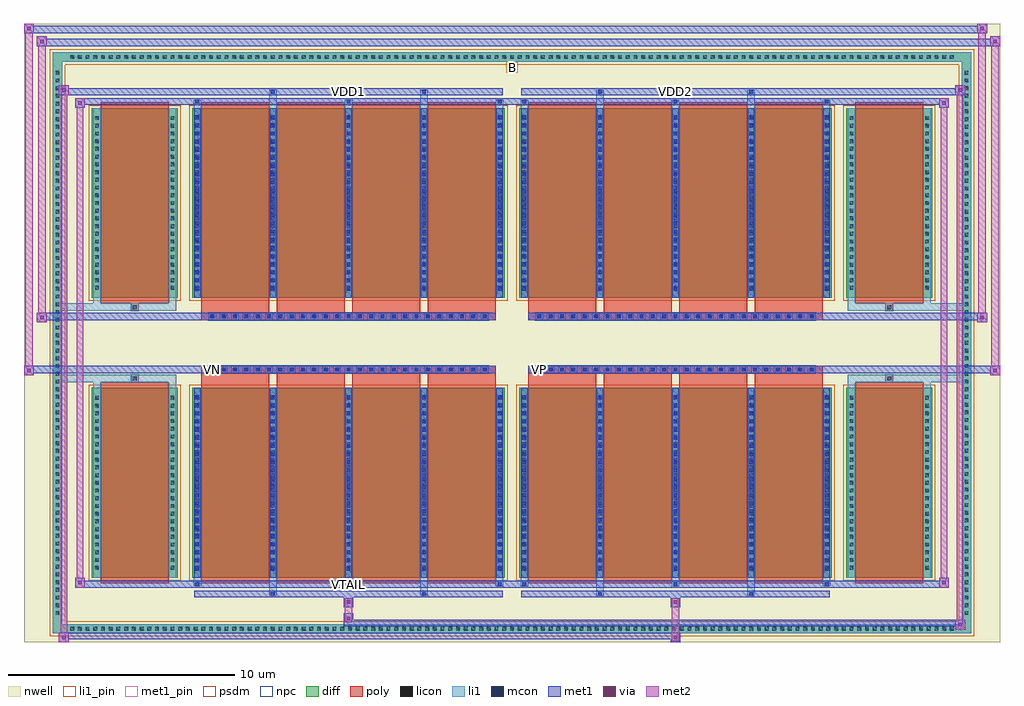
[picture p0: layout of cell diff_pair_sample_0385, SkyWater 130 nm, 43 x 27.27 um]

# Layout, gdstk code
import gdstk
lib = gdstk.Library(unit=1e-6, precision=5e-09)
def R(c, l, rs):  # rectangles x0, y0, x1, y1
    for r in rs: c.add(gdstk.rectangle(r[:2], r[2:], *l))
def A(c, l, x, y, w, h, nx, ny, dx, dy):  # array of equal rectangles
    R(c, l, [(x+i*dx, y+j*dy, x+i*dx+w, y+j*dy+h) for i in range(nx) for j in range(ny)])
def P(c, l, *ps):  # polygons
    for p in ps: c.add(gdstk.Polygon(p, *l))
nwell = (64, 20)
diff = (65, 20)
poly = (66, 20)
licon = (66, 44)
li1_pin = (67, 16)
li1 = (67, 20)
mcon = (67, 44)
met1_pin = (68, 16)
met1 = (68, 20)
via = (68, 44)
met2 = (69, 20)
psdm = (94, 20)
npc = (95, 20)

diff_pair_sample_0385 = lib.new_cell('diff_pair_sample_0385')
R(diff_pair_sample_0385, nwell, [(-21.5,-13.2,21.5,14.07), (-18.82,-11.39,-0.01,-0.805), (0.01,-11.39,18.82,-0.805), (-18.82,0.805,-0.01,11.39), (0.01,0.805,18.82,11.39)])
A(diff_pair_sample_0385, diff, -19.585, -12.8, 0.41, 0.41, 115, 2, 0.34, 25.19)
A(diff_pair_sample_0385, diff, -20.23, -12.105, 0.41, 0.41, 1, 71, 0, 0.34)
A(diff_pair_sample_0385, diff, 19.82, -12.105, 0.41, 0.41, 1, 71, 0, 0.34)
R(diff_pair_sample_0385, diff, [(-19.585,-12.8,19.585,-12.39), (-20.23,-12.105,-19.82,12.105), (19.82,-12.105,20.23,12.105), (-18.51,-10.345,-14.73,-1.985), (-14.09,-10.345,-0.32,-1.985), (0.32,-10.345,14.09,-1.985), (14.73,-10.345,18.51,-1.985), (-18.51,1.985,-14.73,10.345), (-14.09,1.985,-0.32,10.345), (0.32,1.985,14.09,10.345), (14.73,1.985,18.51,10.345), (-19.585,12.39,19.585,12.8)])
P(diff_pair_sample_0385, diff, [(20.23,12.8),(-20.23,12.8),(-20.23,-12.39),(-19.82,-12.39),(-19.82,12.39),(19.82,12.39),(19.82,-12.39),(-19.82,-12.39),(-20.23,-12.39),(-20.23,-12.8),(20.23,-12.8)])
A(diff_pair_sample_0385, poly, -13.7, -10.595, 3, 8.86, 4, 2, 3.33, 12.33)
A(diff_pair_sample_0385, poly, 0.71, -10.595, 3, 8.86, 4, 2, 3.33, 12.33)
A(diff_pair_sample_0385, poly, -13.7, -1.735, 3, 0.4, 4, 2, 3.33, 3.07)
A(diff_pair_sample_0385, poly, 0.71, -1.735, 3, 0.4, 4, 2, 3.33, 3.07)
A(diff_pair_sample_0385, poly, -13.37, -1.335, 0.33, 0.33, 25, 2, 0.5, 2.34)
A(diff_pair_sample_0385, poly, 1.04, -1.335, 0.33, 0.33, 25, 2, 0.5, 2.34)
R(diff_pair_sample_0385, poly, [(-18.12,-10.595,-15.12,-1.735), (15.12,-10.595,18.12,-1.735), (-16.785,-1.735,-16.455,-1.405), (-16.785,-1.735,-16.455,-1.405), (16.455,-1.735,16.785,-1.405), (16.455,-1.735,16.785,-1.405), (-13.7,-1.335,-0.71,-1.005), (0.71,-1.335,13.7,-1.005), (-13.7,1.005,-0.71,1.335), (0.71,1.005,13.7,1.335), (-16.785,1.405,-16.455,1.735), (-16.785,1.405,-16.455,1.735), (16.455,1.405,16.785,1.735), (16.455,1.405,16.785,1.735), (-18.12,1.735,-15.12,10.595), (15.12,1.735,18.12,10.595)])
A(diff_pair_sample_0385, licon, -19.465, -12.68, 0.17, 0.17, 115, 2, 0.34, 25.19)
A(diff_pair_sample_0385, licon, -20.11, -11.985, 0.17, 0.17, 1, 71, 0, 0.34)
A(diff_pair_sample_0385, licon, 19.94, -11.985, 0.17, 0.17, 1, 71, 0, 0.34)
A(diff_pair_sample_0385, licon, -18.37, -9.99, 0.17, 0.17, 1, 23, 0, 0.34)
A(diff_pair_sample_0385, licon, -15.04, -9.99, 0.17, 0.17, 1, 23, 0, 0.34)
A(diff_pair_sample_0385, licon, -13.95, -9.99, 0.17, 0.17, 5, 23, 3.33, 0.34)
A(diff_pair_sample_0385, licon, 0.46, -9.99, 0.17, 0.17, 5, 23, 3.33, 0.34)
A(diff_pair_sample_0385, licon, 14.87, -9.99, 0.17, 0.17, 1, 23, 0, 0.34)
A(diff_pair_sample_0385, licon, 18.2, -9.99, 0.17, 0.17, 1, 23, 0, 0.34)
A(diff_pair_sample_0385, licon, -13.29, -1.255, 0.17, 0.17, 25, 2, 0.5, 2.34)
A(diff_pair_sample_0385, licon, 1.12, -1.255, 0.17, 0.17, 25, 2, 0.5, 2.34)
A(diff_pair_sample_0385, licon, -18.37, 2.34, 0.17, 0.17, 1, 23, 0, 0.34)
A(diff_pair_sample_0385, licon, -15.04, 2.34, 0.17, 0.17, 1, 23, 0, 0.34)
A(diff_pair_sample_0385, licon, -13.95, 2.34, 0.17, 0.17, 5, 23, 3.33, 0.34)
A(diff_pair_sample_0385, licon, 0.46, 2.34, 0.17, 0.17, 5, 23, 3.33, 0.34)
A(diff_pair_sample_0385, licon, 14.87, 2.34, 0.17, 0.17, 1, 23, 0, 0.34)
A(diff_pair_sample_0385, licon, 18.2, 2.34, 0.17, 0.17, 1, 23, 0, 0.34)
R(diff_pair_sample_0385, licon, [(-16.705,-1.655,-16.535,-1.485), (16.535,-1.655,16.705,-1.485), (-16.705,1.485,-16.535,1.655), (16.535,1.485,16.705,1.655)])
R(diff_pair_sample_0385, li1_pin, [(-0.25,11.89,0.25,12.39)])
A(diff_pair_sample_0385, li1, -19.545, -12.76, 0.33, 0.33, 115, 2, 0.34, 25.19)
A(diff_pair_sample_0385, li1, -20.19, -12.065, 0.33, 0.33, 1, 71, 0, 0.34)
A(diff_pair_sample_0385, li1, 19.86, -12.065, 0.33, 0.33, 1, 71, 0, 0.34)
A(diff_pair_sample_0385, li1, -14.03, -10.72, 0.33, 0.375, 3, 2, 6.66, 21.065)
A(diff_pair_sample_0385, li1, -13.95, -10.72, 0.17, 0.17, 3, 2, 6.66, 21.27)
A(diff_pair_sample_0385, li1, 0.38, -10.72, 0.33, 0.375, 3, 2, 6.66, 21.065)
A(diff_pair_sample_0385, li1, 0.46, -10.72, 0.17, 0.17, 3, 2, 6.66, 21.27)
A(diff_pair_sample_0385, li1, -14.03, -10.345, 0.33, 8.36, 5, 2, 3.33, 12.33)
A(diff_pair_sample_0385, li1, 0.38, -10.345, 0.33, 8.36, 5, 2, 3.33, 12.33)
A(diff_pair_sample_0385, li1, -18.45, -10.07, 0.33, 0.33, 1, 23, 0, 0.34)
A(diff_pair_sample_0385, li1, -15.12, -10.07, 0.33, 0.33, 1, 23, 0, 0.34)
A(diff_pair_sample_0385, li1, -14.03, -10.07, 0.33, 0.33, 5, 23, 3.33, 0.34)
A(diff_pair_sample_0385, li1, 0.38, -10.07, 0.33, 0.33, 5, 23, 3.33, 0.34)
A(diff_pair_sample_0385, li1, 14.79, -10.07, 0.33, 0.33, 1, 23, 0, 0.34)
A(diff_pair_sample_0385, li1, 18.12, -10.07, 0.33, 0.33, 1, 23, 0, 0.34)
A(diff_pair_sample_0385, li1, -13.95, -10.03, 0.17, 0.17, 5, 22, 3.33, 0.36)
A(diff_pair_sample_0385, li1, -13.95, -10.03, 0.17, 7.73, 5, 2, 3.33, 12.33)
A(diff_pair_sample_0385, li1, 0.46, -10.03, 0.17, 0.17, 5, 22, 3.33, 0.36)
A(diff_pair_sample_0385, li1, 0.46, -10.03, 0.17, 7.73, 5, 2, 3.33, 12.33)
A(diff_pair_sample_0385, li1, -13.37, -1.335, 0.33, 0.33, 25, 2, 0.5, 2.34)
A(diff_pair_sample_0385, li1, 1.04, -1.335, 0.33, 0.33, 25, 2, 0.5, 2.34)
A(diff_pair_sample_0385, li1, -18.45, 2.26, 0.33, 0.33, 1, 23, 0, 0.34)
A(diff_pair_sample_0385, li1, -15.12, 2.26, 0.33, 0.33, 1, 23, 0, 0.34)
A(diff_pair_sample_0385, li1, -14.03, 2.26, 0.33, 0.33, 5, 23, 3.33, 0.34)
A(diff_pair_sample_0385, li1, 0.38, 2.26, 0.33, 0.33, 5, 23, 3.33, 0.34)
A(diff_pair_sample_0385, li1, 14.79, 2.26, 0.33, 0.33, 1, 23, 0, 0.34)
A(diff_pair_sample_0385, li1, 18.12, 2.26, 0.33, 0.33, 1, 23, 0, 0.34)
A(diff_pair_sample_0385, li1, -13.95, 2.3, 0.17, 0.17, 5, 22, 3.33, 0.36)
A(diff_pair_sample_0385, li1, 0.46, 2.3, 0.17, 0.17, 5, 22, 3.33, 0.36)
R(diff_pair_sample_0385, li1, [(-20.23,-12.8,-19.82,-12.39), (-20.23,-12.8,-19.82,-12.39), (-19.82,-12.8,19.82,-12.39), (19.82,-12.8,20.23,-12.39), (19.82,-12.8,20.23,-12.39), (-20.23,-12.39,-19.82,12.39), (19.82,-12.39,20.23,12.39), (-10.7,-11.15,-10.37,-10.345), (-10.62,-11.15,-10.45,-10.98), (-4.04,-11.15,-3.71,-10.345), (-3.96,-11.15,-3.79,-10.98), (3.71,-11.15,4.04,-10.345), (3.79,-11.15,3.96,-10.98), (10.37,-11.15,10.7,-10.345), (10.45,-11.15,10.62,-10.98), (-18.45,-10.345,-18.12,-1.985), (-15.12,-10.345,-14.79,-1.985), (14.79,-10.345,15.12,-1.985), (18.12,-10.345,18.45,-1.985), (-18.45,-1.985,-18.12,-1.405), (-15.12,-1.985,-14.79,-1.405), (14.79,-1.985,15.12,-1.405), (18.12,-1.985,18.45,-1.405), (-20.23,-1.735,-16.785,-1.405), (-18.45,-1.735,-16.785,-1.405), (-16.785,-1.735,-16.455,-1.405), (-16.455,-1.735,-14.79,-1.405), (14.79,-1.735,16.455,-1.405), (16.455,-1.735,16.785,-1.405), (16.455,-1.735,20.23,-1.405), (16.785,-1.735,18.45,-1.405), (-20.23,1.405,-16.785,1.735), (-18.45,1.405,-16.785,1.735), (-18.45,1.405,-18.12,1.985), (-16.785,1.405,-16.455,1.735), (-16.455,1.405,-14.79,1.735), (-15.12,1.405,-14.79,1.985), (14.79,1.405,16.455,1.735), (14.79,1.405,15.12,1.985), (16.455,1.405,16.785,1.735), (16.455,1.405,20.23,1.735), (16.785,1.405,18.45,1.735), (18.12,1.405,18.45,1.985), (-18.45,1.985,-18.12,10.345), (-15.12,1.985,-14.79,10.345), (14.79,1.985,15.12,10.345), (18.12,1.985,18.45,10.345), (-10.7,10.345,-10.37,11.15), (-4.04,10.345,-3.71,11.15), (3.71,10.345,4.04,11.15), (10.37,10.345,10.7,11.15), (-10.62,10.98,-10.45,11.15), (-3.96,10.98,-3.79,11.15), (3.79,10.98,3.96,11.15), (10.45,10.98,10.62,11.15), (-20.23,12.39,-19.82,12.8), (-20.23,12.39,-19.82,12.8), (-19.82,12.39,19.82,12.8), (19.82,12.39,20.23,12.8), (19.82,12.39,20.23,12.8)])
A(diff_pair_sample_0385, mcon, -13.95, -10.72, 0.17, 0.17, 3, 2, 6.66, 21.27)
A(diff_pair_sample_0385, mcon, 0.46, -10.72, 0.17, 0.17, 3, 2, 6.66, 21.27)
A(diff_pair_sample_0385, mcon, -13.95, -10.03, 0.17, 0.17, 5, 22, 3.33, 0.36)
A(diff_pair_sample_0385, mcon, 0.46, -10.03, 0.17, 0.17, 5, 22, 3.33, 0.36)
A(diff_pair_sample_0385, mcon, -13.29, -1.255, 0.17, 0.17, 25, 2, 0.5, 2.34)
A(diff_pair_sample_0385, mcon, 1.12, -1.255, 0.17, 0.17, 25, 2, 0.5, 2.34)
A(diff_pair_sample_0385, mcon, -13.95, 2.3, 0.17, 0.17, 5, 22, 3.33, 0.36)
A(diff_pair_sample_0385, mcon, 0.46, 2.3, 0.17, 0.17, 5, 22, 3.33, 0.36)
R(diff_pair_sample_0385, mcon, [(-10.62,-11.15,-10.45,-10.98), (-3.96,-11.15,-3.79,-10.98), (3.79,-11.15,3.96,-10.98), (10.45,-11.15,10.62,-10.98), (-10.62,10.98,-10.45,11.15), (-3.96,10.98,-3.79,11.15), (3.79,10.98,3.96,11.15), (10.45,10.98,10.62,11.15)])
R(diff_pair_sample_0385, met1_pin, [(-7.34,-10.76,-7.07,-10.49), (-13.34,-1.295,-13.07,-1.025), (1.07,-1.295,1.34,-1.025), (-7.34,10.94,-7.07,11.21), (7.07,10.94,7.34,11.21)])
A(diff_pair_sample_0385, met1, -14.01, -10.78, 0.29, 0.29, 3, 2, 6.66, 21.27)
A(diff_pair_sample_0385, met1, 0.4, -10.78, 0.29, 0.29, 3, 2, 6.66, 21.27)
A(diff_pair_sample_0385, met1, -14.01, -10.345, 0.29, 8.36, 5, 2, 3.33, 12.33)
A(diff_pair_sample_0385, met1, 0.4, -10.345, 0.29, 8.36, 5, 2, 3.33, 12.33)
A(diff_pair_sample_0385, met1, -14.01, -10.09, 0.29, 0.29, 5, 22, 3.33, 0.36)
A(diff_pair_sample_0385, met1, 0.4, -10.09, 0.29, 0.29, 5, 22, 3.33, 0.36)
A(diff_pair_sample_0385, met1, -13.35, -1.315, 0.29, 0.29, 25, 2, 0.5, 2.34)
A(diff_pair_sample_0385, met1, 1.06, -1.315, 0.29, 0.29, 25, 2, 0.5, 2.34)
A(diff_pair_sample_0385, met1, -14.01, 2.24, 0.29, 0.29, 5, 22, 3.33, 0.36)
A(diff_pair_sample_0385, met1, 0.4, 2.24, 0.29, 0.29, 5, 22, 3.33, 0.36)
R(diff_pair_sample_0385, met1, [(-19.96,-13.2,-19.53,-12.77), (6.99,-13.2,7.42,-12.77), (-19.96,-13.06,7.42,-12.77), (19.53,-12.63,19.96,-12.2), (-7.42,-12.49,19.96,-12.2), (-7.42,-12.35,-6.99,-11.92), (-7.42,-11.64,-6.99,-11.21), (6.99,-11.64,7.42,-11.21), (-14.01,-11.21,-0.4,-10.92), (-10.68,-11.21,-10.39,-10.92), (-4.02,-11.21,-3.73,-10.92), (0.4,-11.21,14.01,-10.92), (3.73,-11.21,4.02,-10.92), (10.39,-11.21,10.68,-10.92), (-19.25,-10.78,-18.82,-10.35), (-19.25,-10.78,-14.01,-10.49), (-14.01,-10.78,-0.4,-10.49), (-0.4,-10.78,0.4,-10.49), (0.4,-10.78,14.01,-10.49), (14.01,-10.78,19.25,-10.49), (18.82,-10.78,19.25,-10.35), (-21.5,-1.435,-21.07,-1.005), (21.07,-1.435,21.5,-1.005), (-21.5,-1.335,-0.71,-1.005), (-13.7,-1.335,-0.71,-1.005), (0.71,-1.335,13.7,-1.005), (0.71,-1.335,21.5,-1.005), (-20.93,0.905,-20.5,1.335), (20.5,0.905,20.93,1.335), (-20.93,1.005,-13.7,1.335), (-13.7,1.005,-0.71,1.335), (0.71,1.005,13.7,1.335), (13.7,1.005,20.93,1.335), (-19.25,10.35,-18.82,10.78), (18.82,10.35,19.25,10.78), (-19.25,10.49,-14.01,10.78), (-14.01,10.49,-0.4,10.78), (-0.4,10.49,0.4,10.78), (0.4,10.49,14.01,10.78), (14.01,10.49,19.25,10.78), (-19.96,10.92,-19.53,11.35), (-19.96,10.92,-14.01,11.21), (-14.01,10.92,-0.4,11.21), (-10.68,10.92,-10.39,11.21), (-4.02,10.92,-3.73,11.21), (0.4,10.92,14.01,11.21), (3.73,10.92,4.02,11.21), (10.39,10.92,10.68,11.21), (14.01,10.92,19.96,11.21), (19.53,10.92,19.96,11.35), (-20.93,13.07,-20.5,13.5), (-20.93,13.07,-18.82,13.4), (-18.82,13.07,18.82,13.4), (18.82,13.07,21.5,13.4), (21.07,13.07,21.5,13.5), (-21.5,13.64,-21.07,14.07), (-21.5,13.64,-18.82,13.97), (-18.82,13.64,18.82,13.97), (18.82,13.64,20.93,13.97), (20.5,13.64,20.93,14.07)])
R(diff_pair_sample_0385, via, [(-19.82,-13.06,-19.67,-12.91), (7.13,-13.06,7.28,-12.91), (19.67,-12.49,19.82,-12.34), (-7.28,-12.21,-7.13,-12.06), (-7.28,-11.5,-7.13,-11.35), (7.13,-11.5,7.28,-11.35), (-19.11,-10.64,-18.96,-10.49), (18.96,-10.64,19.11,-10.49), (-21.36,-1.295,-21.21,-1.145), (21.21,-1.295,21.36,-1.145), (-20.79,1.045,-20.64,1.195), (20.64,1.045,20.79,1.195), (-19.11,10.49,-18.96,10.64), (18.96,10.49,19.11,10.64), (-19.82,11.06,-19.67,11.21), (19.67,11.06,19.82,11.21), (-20.79,13.21,-20.64,13.36), (21.21,13.21,21.36,13.36), (-21.36,13.78,-21.21,13.93), (20.64,13.78,20.79,13.93)])
R(diff_pair_sample_0385, met2, [(-19.96,-13.2,-19.53,-12.77), (-19.89,-13.2,-19.6,11.35), (-19.6,-13.2,-19.53,-12.77), (-19.91,-13.15,-19.58,-12.82), (7.04,-13.15,7.37,-12.82), (7.04,-12.82,7.37,-11.59), (19.53,-12.63,19.96,-12.2), (19.6,-12.63,19.89,11.35), (19.89,-12.63,19.96,-12.2), (19.58,-12.58,19.91,-12.25), (-7.37,-12.3,-7.04,-11.97), (-7.37,-11.97,-7.04,-11.59), (-7.37,-11.59,-7.04,-11.26), (7.04,-11.59,7.37,-11.26), (-19.25,-10.78,-18.82,-10.35), (-19.18,-10.78,-18.89,10.78), (-18.89,-10.78,-18.82,-10.35), (18.82,-10.78,19.25,-10.35), (18.89,-10.78,19.18,10.78), (19.18,-10.78,19.25,-10.35), (-19.2,-10.73,-18.87,-10.4), (18.87,-10.73,19.2,-10.4), (-21.5,-1.435,-21.07,-1.005), (-21.45,-1.435,-21.12,14.07), (-21.12,-1.435,-21.07,-1.005), (21.07,-1.435,21.5,-1.005), (21.12,-1.435,21.45,13.5), (21.45,-1.435,21.5,-1.005), (-21.45,-1.385,-21.12,-1.055), (21.12,-1.385,21.45,-1.055), (-20.93,0.905,-20.5,1.335), (-20.88,0.905,-20.55,13.5), (-20.55,0.905,-20.5,1.335), (20.5,0.905,20.93,1.335), (20.55,0.905,20.88,14.07), (20.88,0.905,20.93,1.335), (-20.88,0.955,-20.55,1.285), (20.55,0.955,20.88,1.285), (-19.25,10.35,-18.82,10.78), (-18.89,10.35,-18.82,10.78), (18.82,10.35,19.25,10.78), (19.18,10.35,19.25,10.78), (-19.2,10.4,-18.87,10.73), (18.87,10.4,19.2,10.73), (-19.96,10.92,-19.53,11.35), (-19.6,10.92,-19.53,11.35), (19.53,10.92,19.96,11.35), (19.89,10.92,19.96,11.35), (-19.91,10.97,-19.58,11.3), (19.58,10.97,19.91,11.3), (-20.93,13.07,-20.5,13.5), (-20.55,13.07,-20.5,13.5), (21.07,13.07,21.5,13.5), (21.45,13.07,21.5,13.5), (-20.88,13.12,-20.55,13.45), (21.12,13.12,21.45,13.45), (-21.5,13.64,-21.07,14.07), (-21.12,13.64,-21.07,14.07), (20.5,13.64,20.93,14.07), (20.88,13.64,20.93,14.07), (-21.45,13.69,-21.12,14.02), (20.55,13.69,20.88,14.02)])
R(diff_pair_sample_0385, psdm, [(-18.64,-10.475,-14.6,-1.855), (-14.22,-10.475,-0.19,-1.855), (0.19,-10.475,14.22,-1.855), (14.6,-10.475,18.64,-1.855), (-18.64,1.855,-14.6,10.475), (-14.22,1.855,-0.19,10.475), (0.19,1.855,14.22,10.475), (14.6,1.855,18.64,10.475)])
P(diff_pair_sample_0385, psdm, [(20.36,12.93),(-20.36,12.93),(-20.36,-12.26),(-19.69,-12.26),(-19.69,12.26),(19.69,12.26),(19.69,-12.26),(-19.69,-12.26),(-20.36,-12.26),(-20.36,-12.93),(20.36,-12.93)])
A(diff_pair_sample_0385, npc, -13.39, -1.355, 0.37, 0.37, 25, 2, 0.5, 2.34)
A(diff_pair_sample_0385, npc, 1.02, -1.355, 0.37, 0.37, 25, 2, 0.5, 2.34)
R(diff_pair_sample_0385, npc, [(-16.805,-1.755,-16.435,-1.385), (16.435,-1.755,16.805,-1.385), (-13.39,-1.355,-12.52,-0.985), (-13.39,-1.355,-12.52,-0.985), (-12.89,-1.355,-12.02,-0.985), (-12.89,-1.355,-12.02,-0.985), (-12.39,-1.355,-11.52,-0.985), (-12.39,-1.355,-11.52,-0.985), (-11.89,-1.355,-11.02,-0.985), (-11.89,-1.355,-11.02,-0.985), (-11.39,-1.355,-10.52,-0.985), (-11.39,-1.355,-10.52,-0.985), (-10.89,-1.355,-10.02,-0.985), (-10.89,-1.355,-10.02,-0.985), (-10.39,-1.355,-9.52,-0.985), (-10.39,-1.355,-9.52,-0.985), (-9.89,-1.355,-9.02,-0.985), (-9.89,-1.355,-9.02,-0.985), (-9.39,-1.355,-8.52,-0.985), (-9.39,-1.355,-8.52,-0.985), (-8.89,-1.355,-8.02,-0.985), (-8.89,-1.355,-8.02,-0.985), (-8.39,-1.355,-7.52,-0.985), (-8.39,-1.355,-7.52,-0.985), (-7.89,-1.355,-7.02,-0.985), (-7.89,-1.355,-7.02,-0.985), (-7.39,-1.355,-6.52,-0.985), (-7.39,-1.355,-6.52,-0.985), (-6.89,-1.355,-6.02,-0.985), (-6.89,-1.355,-6.02,-0.985), (-6.39,-1.355,-5.52,-0.985), (-6.39,-1.355,-5.52,-0.985), (-5.89,-1.355,-5.02,-0.985), (-5.89,-1.355,-5.02,-0.985), (-5.39,-1.355,-4.52,-0.985), (-5.39,-1.355,-4.52,-0.985), (-4.89,-1.355,-4.02,-0.985), (-4.89,-1.355,-4.02,-0.985), (-4.39,-1.355,-3.52,-0.985), (-4.39,-1.355,-3.52,-0.985), (-3.89,-1.355,-3.02,-0.985), (-3.89,-1.355,-3.02,-0.985), (-3.39,-1.355,-2.52,-0.985), (-3.39,-1.355,-2.52,-0.985), (-2.89,-1.355,-2.02,-0.985), (-2.89,-1.355,-2.02,-0.985), (-2.39,-1.355,-1.52,-0.985), (-2.39,-1.355,-1.52,-0.985), (-1.89,-1.355,-1.02,-0.985), (-1.89,-1.355,-1.02,-0.985), (1.02,-1.355,1.89,-0.985), (1.02,-1.355,1.89,-0.985), (1.52,-1.355,2.39,-0.985), (1.52,-1.355,2.39,-0.985), (2.02,-1.355,2.89,-0.985), (2.02,-1.355,2.89,-0.985), (2.52,-1.355,3.39,-0.985), (2.52,-1.355,3.39,-0.985), (3.02,-1.355,3.89,-0.985), (3.02,-1.355,3.89,-0.985), (3.52,-1.355,4.39,-0.985), (3.52,-1.355,4.39,-0.985), (4.02,-1.355,4.89,-0.985), (4.02,-1.355,4.89,-0.985), (4.52,-1.355,5.39,-0.985), (4.52,-1.355,5.39,-0.985), (5.02,-1.355,5.89,-0.985), (5.02,-1.355,5.89,-0.985), (5.52,-1.355,6.39,-0.985), (5.52,-1.355,6.39,-0.985), (6.02,-1.355,6.89,-0.985), (6.02,-1.355,6.89,-0.985), (6.52,-1.355,7.39,-0.985), (6.52,-1.355,7.39,-0.985), (7.02,-1.355,7.89,-0.985), (7.02,-1.355,7.89,-0.985), (7.52,-1.355,8.39,-0.985), (7.52,-1.355,8.39,-0.985), (8.02,-1.355,8.89,-0.985), (8.02,-1.355,8.89,-0.985), (8.52,-1.355,9.39,-0.985), (8.52,-1.355,9.39,-0.985), (9.02,-1.355,9.89,-0.985), (9.02,-1.355,9.89,-0.985), (9.52,-1.355,10.39,-0.985), (9.52,-1.355,10.39,-0.985), (10.02,-1.355,10.89,-0.985), (10.02,-1.355,10.89,-0.985), (10.52,-1.355,11.39,-0.985), (10.52,-1.355,11.39,-0.985), (11.02,-1.355,11.89,-0.985), (11.02,-1.355,11.89,-0.985), (11.52,-1.355,12.39,-0.985), (11.52,-1.355,12.39,-0.985), (12.02,-1.355,12.89,-0.985), (12.02,-1.355,12.89,-0.985), (12.52,-1.355,13.39,-0.985), (12.52,-1.355,13.39,-0.985), (-13.39,0.985,-12.52,1.355), (-13.39,0.985,-12.52,1.355), (-12.89,0.985,-12.02,1.355), (-12.89,0.985,-12.02,1.355), (-12.39,0.985,-11.52,1.355), (-12.39,0.985,-11.52,1.355), (-11.89,0.985,-11.02,1.355), (-11.89,0.985,-11.02,1.355), (-11.39,0.985,-10.52,1.355), (-11.39,0.985,-10.52,1.355), (-10.89,0.985,-10.02,1.355), (-10.89,0.985,-10.02,1.355), (-10.39,0.985,-9.52,1.355), (-10.39,0.985,-9.52,1.355), (-9.89,0.985,-9.02,1.355), (-9.89,0.985,-9.02,1.355), (-9.39,0.985,-8.52,1.355), (-9.39,0.985,-8.52,1.355), (-8.89,0.985,-8.02,1.355), (-8.89,0.985,-8.02,1.355), (-8.39,0.985,-7.52,1.355), (-8.39,0.985,-7.52,1.355), (-7.89,0.985,-7.02,1.355), (-7.89,0.985,-7.02,1.355), (-7.39,0.985,-6.52,1.355), (-7.39,0.985,-6.52,1.355), (-6.89,0.985,-6.02,1.355), (-6.89,0.985,-6.02,1.355), (-6.39,0.985,-5.52,1.355), (-6.39,0.985,-5.52,1.355), (-5.89,0.985,-5.02,1.355), (-5.89,0.985,-5.02,1.355), (-5.39,0.985,-4.52,1.355), (-5.39,0.985,-4.52,1.355), (-4.89,0.985,-4.02,1.355), (-4.89,0.985,-4.02,1.355), (-4.39,0.985,-3.52,1.355), (-4.39,0.985,-3.52,1.355), (-3.89,0.985,-3.02,1.355), (-3.89,0.985,-3.02,1.355), (-3.39,0.985,-2.52,1.355), (-3.39,0.985,-2.52,1.355), (-2.89,0.985,-2.02,1.355), (-2.89,0.985,-2.02,1.355), (-2.39,0.985,-1.52,1.355), (-2.39,0.985,-1.52,1.355), (-1.89,0.985,-1.02,1.355), (-1.89,0.985,-1.02,1.355), (1.02,0.985,1.89,1.355), (1.02,0.985,1.89,1.355), (1.52,0.985,2.39,1.355), (1.52,0.985,2.39,1.355), (2.02,0.985,2.89,1.355), (2.02,0.985,2.89,1.355), (2.52,0.985,3.39,1.355), (2.52,0.985,3.39,1.355), (3.02,0.985,3.89,1.355), (3.02,0.985,3.89,1.355), (3.52,0.985,4.39,1.355), (3.52,0.985,4.39,1.355), (4.02,0.985,4.89,1.355), (4.02,0.985,4.89,1.355), (4.52,0.985,5.39,1.355), (4.52,0.985,5.39,1.355), (5.02,0.985,5.89,1.355), (5.02,0.985,5.89,1.355), (5.52,0.985,6.39,1.355), (5.52,0.985,6.39,1.355), (6.02,0.985,6.89,1.355), (6.02,0.985,6.89,1.355), (6.52,0.985,7.39,1.355), (6.52,0.985,7.39,1.355), (7.02,0.985,7.89,1.355), (7.02,0.985,7.89,1.355), (7.52,0.985,8.39,1.355), (7.52,0.985,8.39,1.355), (8.02,0.985,8.89,1.355), (8.02,0.985,8.89,1.355), (8.52,0.985,9.39,1.355), (8.52,0.985,9.39,1.355), (9.02,0.985,9.89,1.355), (9.02,0.985,9.89,1.355), (9.52,0.985,10.39,1.355), (9.52,0.985,10.39,1.355), (10.02,0.985,10.89,1.355), (10.02,0.985,10.89,1.355), (10.52,0.985,11.39,1.355), (10.52,0.985,11.39,1.355), (11.02,0.985,11.89,1.355), (11.02,0.985,11.89,1.355), (11.52,0.985,12.39,1.355), (11.52,0.985,12.39,1.355), (12.02,0.985,12.89,1.355), (12.02,0.985,12.89,1.355), (12.52,0.985,13.39,1.355), (12.52,0.985,13.39,1.355), (-16.805,1.385,-16.435,1.755), (16.435,1.385,16.805,1.755)])
diff_pair_sample_0385.add(gdstk.Label('VTAIL', (-7.205,-10.625), layer=68, texttype=5))
diff_pair_sample_0385.add(gdstk.Label('VN', (-13.205,-1.16), layer=68, texttype=5))
diff_pair_sample_0385.add(gdstk.Label('VP', (1.205,-1.16), layer=68, texttype=5))
diff_pair_sample_0385.add(gdstk.Label('B', (0,12.14), layer=67, texttype=5))
diff_pair_sample_0385.add(gdstk.Label('VDD2', (7.205,11.075), layer=68, texttype=5))
diff_pair_sample_0385.add(gdstk.Label('VDD1', (-7.205,11.075), layer=68, texttype=5))

lib.write_gds('diff_pair_sample_0385.gds')
